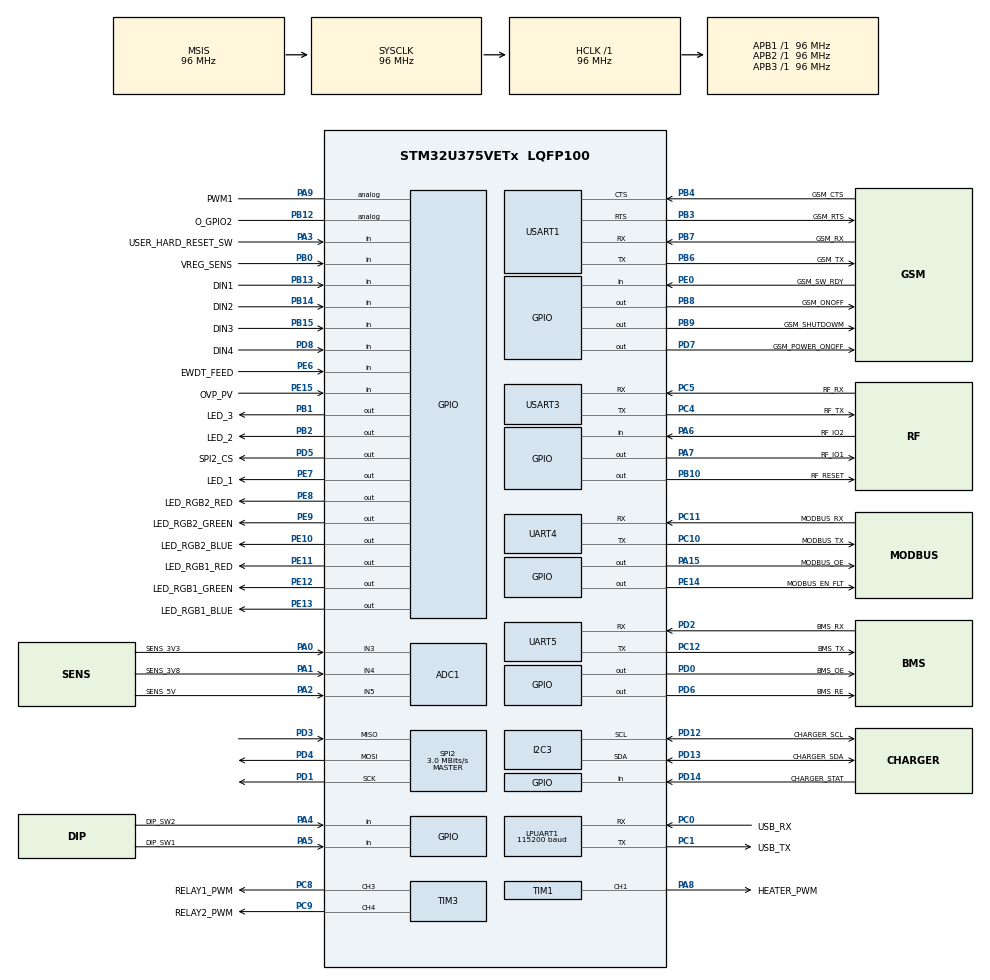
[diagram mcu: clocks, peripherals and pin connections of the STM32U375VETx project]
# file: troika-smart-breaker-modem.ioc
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ADC1.Channel-0\#ChannelRegularConversion=ADC_CHANNEL_3
ADC1.MonitoredBy-0\#ChannelRegularConversion=__NULL
ADC1.NbrOfConversionFlag=1
ADC1.OffsetNumber-0\#ChannelRegularConversion=ADC_OFFSET_NONE
ADC1.Rank-0\#ChannelRegularConversion=1
ADC1.SamplingTime-0\#ChannelRegularConversion=ADC_SAMPLETIME_1CYCLE_5
ADC1.master=1
CORTEX_M33_NS.userName=CORTEX_M33
I2C3.Timing=0x10B0DCFB
LPUART1.BaudRate=115200
Mcu.Family=STM32U3
Mcu.Name=STM32U375VETx
Mcu.Package=LQFP100
NVIC.PriorityGroup=NVIC_PRIORITYGROUP_4
PA0.GPIO_Label=SENS_3V3
PA0.Mode=IN3-Single-Ended
PA0.Signal=ADC1_IN3
PA1.GPIO_Label=SENS_3V8
PA1.Mode=IN4-Single-Ended
PA1.Signal=ADC1_IN4
PA13\ (JTMS/SWDIO).Mode=Serial_Wire
PA13\ (JTMS/SWDIO).Signal=DEBUG_JTMS-SWDIO
PA14\ (JTCK/SWCLK).Mode=Serial_Wire
PA14\ (JTCK/SWCLK).Signal=DEBUG_JTCK-SWCLK
PA15\ (JTDI).GPIO_Label=MODBUS_OE
PA15\ (JTDI).Signal=GPIO_Output
PA2.GPIO_Label=SENS_5V
PA2.Mode=IN5-Single-Ended
PA2.Signal=ADC1_IN5
PA3.GPIO_Label=USER_HARD_RESET_SW
PA3.Signal=GPIO_Input
PA4.GPIO_Label=DIP_SW2
PA4.Signal=GPIO_Input
PA5.GPIO_Label=DIP_SW1
PA5.Signal=GPIO_Input
PA6.GPIO_Label=RF_IO2
PA6.Signal=GPIO_Input
PA7.GPIO_Label=RF_IO1
PA7.Signal=GPIO_Output
PA8.GPIO_Label=HEATER_PWM
PA8.Signal=S_TIM1_CH1
PA9.GPIO_Label=PWM1
PA9.Signal=GPIO_Analog
PB0.GPIO_Label=VREG_SENS
PB0.Signal=GPIO_Input
PB1.GPIO_Label=LED_3
PB1.Signal=GPIO_Output
PB10.GPIO_Label=RF_RESET
PB10.GPIO_ModeDefaultOutputPP=GPIO_MODE_OUTPUT_OD
PB10.GPIO_PuPd=GPIO_NOPULL
PB10.Signal=GPIO_Output
PB12.GPIO_Label=O_GPIO2
PB12.Signal=GPIO_Analog
PB13.GPIO_Label=DIN1
PB13.Signal=GPIO_Input
PB14.GPIO_Label=DIN2
PB14.Signal=GPIO_Input
PB15.GPIO_Label=DIN3
PB15.Signal=GPIO_Input
PB2.GPIO_Label=LED_2
PB2.Signal=GPIO_Output
PB3\ (JTDO/TRACESWO).GPIO_Label=GSM_RTS
PB3\ (JTDO/TRACESWO).Mode=CTS_RTS
PB3\ (JTDO/TRACESWO).Signal=USART1_RTS
PB4\ (NJTRST).GPIO_Label=GSM_CTS
PB4\ (NJTRST).Mode=CTS_RTS
PB4\ (NJTRST).Signal=USART1_CTS
PB6.GPIO_Label=GSM_TX
PB6.Mode=Asynchronous
PB6.Signal=USART1_TX
PB7.GPIO_Label=GSM_RX
PB7.Mode=Asynchronous
PB7.Signal=USART1_RX
PB8.GPIO_Label=GSM_ONOFF
PB8.Signal=GPIO_Output
PB9.GPIO_Label=GSM_SHUTDOWM
PB9.Signal=GPIO_Output
PC0.GPIO_Label=USB_RX
PC0.Mode=Asynchronous
PC0.Signal=LPUART1_RX
PC1.GPIO_Label=USB_TX
PC1.Mode=Asynchronous
PC1.Signal=LPUART1_TX
PC10.GPIO_Label=MODBUS_TX
PC10.Mode=Asynchronous
PC10.Signal=UART4_TX
PC11.GPIO_Label=MODBUS_RX
PC11.Mode=Asynchronous
PC11.Signal=UART4_RX
PC12.GPIO_Label=BMS_TX
PC12.Mode=Asynchronous
PC12.Signal=UART5_TX
PC14-OSC32_IN\ (PC14).Mode=LSE-External-Oscillator-for-RTC
PC14-OSC32_IN\ (PC14).Signal=RCC_OSC32_IN
PC15-OSC32_OUT\ (PC15).Mode=LSE-External-Oscillator-for-RTC
PC15-OSC32_OUT\ (PC15).Signal=RCC_OSC32_OUT
PC4.GPIO_Label=RF_TX
PC4.Mode=Asynchronous
PC4.Signal=USART3_TX
PC5.GPIO_Label=RF_RX
PC5.Mode=Asynchronous
PC5.Signal=USART3_RX
PC8.GPIO_Label=RELAY1_PWM
PC8.Signal=S_TIM3_CH3
PC9.GPIO_Label=RELAY2_PWM
PC9.Signal=S_TIM3_CH4
PD0.GPIO_Label=BMS_OE
PD0.Signal=GPIO_Output
PD1.Mode=Full_Duplex_Master
PD1.Signal=SPI2_SCK
PD12.GPIO_Label=CHARGER_SCL
PD12.Mode=I2C
PD12.Signal=I2C3_SCL
PD13.GPIO_Label=CHARGER_SDA
PD13.Mode=I2C
PD13.Signal=I2C3_SDA
PD14.GPIO_Label=CHARGER_STAT
PD14.Signal=GPIO_Input
PD2.GPIO_Label=BMS_RX
PD2.Mode=Asynchronous
PD2.Signal=UART5_RX
PD3.Mode=Full_Duplex_Master
PD3.Signal=SPI2_MISO
PD4.Mode=Full_Duplex_Master
PD4.Signal=SPI2_MOSI
PD5.GPIO_Label=SPI2_CS
PD5.Signal=GPIO_Output
PD6.GPIO_Label=BMS_RE
PD6.Signal=GPIO_Output
PD7.GPIO_Label=GSM_POWER_ONOFF
PD7.Signal=GPIO_Output
PD8.GPIO_Label=DIN4
PD8.Signal=GPIO_Input
PE0.GPIO_Label=GSM_SW_RDY
PE0.Signal=GPIO_Input
PE10.GPIO_Label=LED_RGB2_BLUE
PE10.Signal=GPIO_Output
PE11.GPIO_Label=LED_RGB1_RED
PE11.Signal=GPIO_Output
PE12.GPIO_Label=LED_RGB1_GREEN
PE12.Signal=GPIO_Output
PE13.GPIO_Label=LED_RGB1_BLUE
PE13.Signal=GPIO_Output
PE14.GPIO_Label=MODBUS_EN_FLT
PE14.GPIO_ModeDefaultOutputPP=GPIO_MODE_OUTPUT_OD
PE14.GPIO_PuPd=GPIO_NOPULL
PE14.GPIO_Speed=GPIO_SPEED_FREQ_VERY_HIGH
PE14.Signal=GPIO_Output
PE15.GPIO_Label=OVP_PV
PE15.Signal=GPIO_Input
PE6.GPIO_Label=EWDT_FEED
PE6.Signal=GPIO_Input
PE7.GPIO_Label=LED_1
PE7.Signal=GPIO_Output
PE8.GPIO_Label=LED_RGB2_RED
PE8.Signal=GPIO_Output
PE9.GPIO_Label=LED_RGB2_GREEN
PE9.Signal=GPIO_Output
PH0-OSC_IN\ (PH0).Mode=HSE-External-Oscillator
PH0-OSC_IN\ (PH0).Signal=RCC_OSC_IN
PH1-OSC_OUT\ (PH1).Mode=HSE-External-Oscillator
PH1-OSC_OUT\ (PH1).Signal=RCC_OSC_OUT
ProjectManager.HeapSize=0x200
ProjectManager.StackSize=0x400
ProjectManager.TargetToolchain=STM32CubeIDE
RCC.ADCCLockSelection=RCC_ADCDACCLKSOURCE_HSE
RCC.ADCFreq_Value=24000000
RCC.AHBFreq_Value=96000000
RCC.APB1Freq_Value=96000000
RCC.APB1TimFreq_Value=96000000
RCC.APB2Freq_Value=96000000
RCC.APB2TimFreq_Value=96000000
RCC.APB3Freq_Value=96000000
RCC.CortexFreq_Value=12000000
RCC.HCLKFreq_Value=96000000
RCC.HSE_VALUE=24000000
RCC.HSI48_VALUE=48000000
RCC.HSI_VALUE=16000000
RCC.LSIDIV_VALUE=32000
RCC.MSISDIV=RCC_MSI_DIV1
RCC.RTCClockSelection=RCC_RTCCLKSOURCE_LSE
RCC.SYSCLKFreq_VALUE=96000000
RCC.USBFreq_Value=96000000
SH.S_TIM1_CH1.0=TIM1_CH1,PWM Generation1 CH1
SH.S_TIM3_CH3.0=TIM3_CH3,PWM Generation3 CH3
SH.S_TIM3_CH4.0=TIM3_CH4,PWM Generation4 CH4
SPI2.BaudRatePrescaler=SPI_BAUDRATEPRESCALER_32
SPI2.CalculateBaudRate=3.0 MBits/s
SPI2.DataSize=SPI_DATASIZE_8BIT
SPI2.Direction=SPI_DIRECTION_2LINES
SPI2.Mode=SPI_MODE_MASTER
SPI2.VirtualType=VM_MASTER
TIM1.Channel-PWM\ Generation1\ CH1=TIM_CHANNEL_1
TIM3.Channel-PWM\ Generation3\ CH3=TIM_CHANNEL_3
TIM3.Channel-PWM\ Generation4\ CH4=TIM_CHANNEL_4
USART1.VirtualMode-Asynchronous=VM_ASYNC
USART3.VirtualMode-Asynchronous=VM_ASYNC
VP_MEMORYMAP_VS_MEMORYMAP.Mode=CurAppReg
VP_PWR_VS_DBSignals.Mode=DisableDeadBatterySignals
VP_PWR_VS_LPOM.Mode=PowerOptimisation
VP_PWR_VS_SECSignals.Mode=Security/Privilege
VP_RTC_VS_RTC_Activate.Mode=RTC_Enabled
board=custom

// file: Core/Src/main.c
/* USER CODE BEGIN Header */
/**
  ******************************************************************************
  * @file           : main.c
  * @brief          : Main program body
  ******************************************************************************
  * @attention
  *
  * Copyright (c) 2025 STMicroelectronics.
  * All rights reserved.
  *
  * This software is licensed under terms that can be found in the LICENSE file
  * in the root directory of this software component.
  * If no LICENSE file comes with this software, it is provided AS-IS.
  *
  ******************************************************************************
  */
/* USER CODE END Header */
#include "main.h"

/* USER CODE BEGIN Includes */
#include "bsp.h"
#include "spi.h"
#include "xprintf.h"

#include "test_runner.h"
/* USER CODE END Includes */

ADC_HandleTypeDef hadc1;

I2C_HandleTypeDef hi2c3;

UART_HandleTypeDef hlpuart1;
UART_HandleTypeDef huart4;
UART_HandleTypeDef huart5;
UART_HandleTypeDef huart1;
UART_HandleTypeDef huart3;

RTC_HandleTypeDef hrtc;

SPI_HandleTypeDef hspi2;

TIM_HandleTypeDef htim1;
TIM_HandleTypeDef htim3;

void SystemClock_Config(void);
static void MX_GPIO_Init(void);
static void MX_LPUART1_UART_Init(void);
static void MX_UART4_Init(void);
static void MX_UART5_Init(void);
static void MX_USART1_UART_Init(void);
static void MX_USART3_UART_Init(void);
static void MX_TIM3_Init(void);
static void MX_I2C3_Init(void);
static void MX_SPI2_Init(void);
static void MX_TIM1_Init(void);
static void MX_ADC1_Init(void);
static void MX_RTC_Init(void);

int main(void)
{

  /* MCU Configuration--------------------------------------------------------*/

  /* Reset of all peripherals, Initializes the Flash interface and the Systick. */
  HAL_Init();

  /* Configure the system clock */
  SystemClock_Config();

  /* USER CODE BEGIN SysInit */
  /* Enable VREFBUF: clock + VDDA supply + 2.5V output to VREF+ pin */
  __HAL_RCC_VREF_CLK_ENABLE();
  HAL_SYSCFG_VREFBUF_VoltageScalingConfig(SYSCFG_VREFBUF_VOLTAGE_SCALE3);  /* 2.5V */
  HAL_SYSCFG_VREFBUF_HighImpedanceConfig(SYSCFG_VREFBUF_HIGH_IMPEDANCE_DISABLE);
  if (HAL_SYSCFG_EnableVREFBUF() != HAL_OK) {
    /* VREFBUF failed — will fall back to whatever is on VREF+ */
  }
  /* USER CODE END SysInit */

  /* Initialize all configured peripherals */
  MX_GPIO_Init();
  MX_LPUART1_UART_Init();
  MX_UART4_Init();
  MX_UART5_Init();
  MX_USART1_UART_Init();
  MX_USART3_UART_Init();
  MX_TIM3_Init();
  MX_I2C3_Init();
  MX_SPI2_Init();
  MX_TIM1_Init();
  MX_ADC1_Init();
  MX_RTC_Init();
  /* USER CODE BEGIN 2 */
  HAL_ADCEx_Calibration_Start(&hadc1, ADC_SINGLE_ENDED);
  spi_init();
  test_console_init();
  test_run_menu();
  /* USER CODE END 2 */

  /* Infinite loop */
  while (1)
  {

  }
}

void SystemClock_Config(void)
{
  RCC_OscInitTypeDef RCC_OscInitStruct = {0};
  RCC_ClkInitTypeDef RCC_ClkInitStruct = {0};

  /** Enable Epod Booster
  */
  if (HAL_RCCEx_EpodBoosterClkConfig(RCC_EPODBOOSTER_SOURCE_MSIS, RCC_EPODBOOSTER_DIV1) != HAL_OK)
  {
    Error_Handler();
  }
  if (HAL_PWREx_EnableEpodBooster() != HAL_OK)
  {
    Error_Handler();
  }

  /** Configure the main internal regulator output voltage
  */
  if (HAL_PWREx_ControlVoltageScaling(PWR_REGULATOR_VOLTAGE_SCALE1) != HAL_OK)
  {
    Error_Handler();
  }

  /** Set Flash latency before increasing MSIS
  */
  __HAL_FLASH_SET_LATENCY(FLASH_LATENCY_2);

  /** Configure LSE Drive Capability
  */
  HAL_PWR_EnableBkUpAccess();
  __HAL_RCC_LSEDRIVE_CONFIG(RCC_LSEDRIVE_LOW);

  /** Initializes the CPU, AHB and APB buses clocks
  */
  RCC_OscInitStruct.OscillatorType = RCC_OSCILLATORTYPE_HSE|RCC_OSCILLATORTYPE_LSE
                              |RCC_OSCILLATORTYPE_MSIS;
  RCC_OscInitStruct.HSEState = RCC_HSE_ON;
  RCC_OscInitStruct.LSEState = RCC_LSE_ON_RTC_ONLY;
  RCC_OscInitStruct.MSISState = RCC_MSI_ON;
  RCC_OscInitStruct.MSISSource = RCC_MSI_RC0;
  RCC_OscInitStruct.MSISDiv = RCC_MSI_DIV1;
  if (HAL_RCC_OscConfig(&RCC_OscInitStruct) != HAL_OK)
  {
    Error_Handler();
  }

  /** Initializes the CPU, AHB and APB buses clocks
  */
  RCC_ClkInitStruct.ClockType = RCC_CLOCKTYPE_HCLK|RCC_CLOCKTYPE_SYSCLK
                              |RCC_CLOCKTYPE_PCLK1|RCC_CLOCKTYPE_PCLK2
                              |RCC_CLOCKTYPE_PCLK3;
  RCC_ClkInitStruct.SYSCLKSource = RCC_SYSCLKSOURCE_MSIS;
  RCC_ClkInitStruct.AHBCLKDivider = RCC_SYSCLK_DIV1;
  RCC_ClkInitStruct.APB1CLKDivider = RCC_HCLK_DIV1;
  RCC_ClkInitStruct.APB2CLKDivider = RCC_HCLK_DIV1;
  RCC_ClkInitStruct.APB3CLKDivider = RCC_HCLK_DIV1;

  if (HAL_RCC_ClockConfig(&RCC_ClkInitStruct, FLASH_LATENCY_2) != HAL_OK)
  {
    Error_Handler();
  }
}

static void MX_ADC1_Init(void)
{

  ADC_ChannelConfTypeDef sConfig = {0};

  /** Common config
  */
  hadc1.Instance = ADC1;
  hadc1.Init.Resolution = ADC_RESOLUTION_12B;
  hadc1.Init.GainCompensation = 0;
  hadc1.Init.ScanConvMode = ADC_SCAN_DISABLE;
  hadc1.Init.EOCSelection = ADC_EOC_SINGLE_CONV;
  hadc1.Init.LowPowerAutoWait = DISABLE;
  hadc1.Init.ContinuousConvMode = DISABLE;
  hadc1.Init.NbrOfConversion = 1;
  hadc1.Init.DiscontinuousConvMode = DISABLE;
  hadc1.Init.ExternalTrigConv = ADC_SOFTWARE_START;
  hadc1.Init.ExternalTrigConvEdge = ADC_EXTERNALTRIGCONVEDGE_NONE;
  hadc1.Init.Overrun = ADC_OVR_DATA_PRESERVED;
  hadc1.Init.LeftBitShift = ADC_LEFTBITSHIFT_NONE;
  hadc1.Init.ConversionDataManagement = ADC_CONVERSIONDATA_DR;
  hadc1.Init.OversamplingMode = DISABLE;
  if (HAL_ADC_Init(&hadc1) != HAL_OK)
  {
    Error_Handler();
  }

  /** Configure Regular Channel
  */
  sConfig.Channel = ADC_CHANNEL_3;
  sConfig.Rank = ADC_REGULAR_RANK_1;
  sConfig.SamplingTime = ADC_SAMPLETIME_1CYCLE_5;
  sConfig.OffsetNumber = ADC_OFFSET_NONE;
  sConfig.Offset = 0;
  if (HAL_ADC_ConfigChannel(&hadc1, &sConfig) != HAL_OK)
  {
    Error_Handler();
  }

}

static void MX_I2C3_Init(void)
{

  hi2c3.Instance = I2C3;
  hi2c3.Init.Timing = 0x10B0DCFB;
  hi2c3.Init.OwnAddress1 = 0;
  hi2c3.Init.AddressingMode = I2C_ADDRESSINGMODE_7BIT;
  hi2c3.Init.DualAddressMode = I2C_DUALADDRESS_DISABLE;
  hi2c3.Init.OwnAddress2 = 0;
  hi2c3.Init.OwnAddress2Masks = I2C_OA2_NOMASK;
  hi2c3.Init.GeneralCallMode = I2C_GENERALCALL_DISABLE;
  hi2c3.Init.NoStretchMode = I2C_NOSTRETCH_DISABLE;
  if (HAL_I2C_Init(&hi2c3) != HAL_OK)
  {
    Error_Handler();
  }

  /** Configure Analogue filter
  */
  if (HAL_I2CEx_ConfigAnalogFilter(&hi2c3, I2C_ANALOGFILTER_ENABLE) != HAL_OK)
  {
    Error_Handler();
  }

  /** Configure Digital filter
  */
  if (HAL_I2CEx_ConfigDigitalFilter(&hi2c3, 0) != HAL_OK)
  {
    Error_Handler();
  }

}

static void MX_LPUART1_UART_Init(void)
{

  hlpuart1.Instance = LPUART1;
  hlpuart1.Init.BaudRate = 115200;
  hlpuart1.Init.WordLength = UART_WORDLENGTH_8B;
  hlpuart1.Init.StopBits = UART_STOPBITS_1;
  hlpuart1.Init.Parity = UART_PARITY_NONE;
  hlpuart1.Init.Mode = UART_MODE_TX_RX;
  hlpuart1.Init.HwFlowCtl = UART_HWCONTROL_NONE;
  hlpuart1.Init.OneBitSampling = UART_ONE_BIT_SAMPLE_DISABLE;
  hlpuart1.Init.ClockPrescaler = UART_PRESCALER_DIV1;
  hlpuart1.AdvancedInit.AdvFeatureInit = UART_ADVFEATURE_NO_INIT;
  hlpuart1.FifoMode = UART_FIFOMODE_DISABLE;
  if (HAL_UART_Init(&hlpuart1) != HAL_OK)
  {
    Error_Handler();
  }
  if (HAL_UARTEx_SetTxFifoThreshold(&hlpuart1, UART_TXFIFO_THRESHOLD_1_8) != HAL_OK)
  {
    Error_Handler();
  }
  if (HAL_UARTEx_SetRxFifoThreshold(&hlpuart1, UART_RXFIFO_THRESHOLD_1_8) != HAL_OK)
  {
    Error_Handler();
  }
  if (HAL_UARTEx_DisableFifoMode(&hlpuart1) != HAL_OK)
  {
    Error_Handler();
  }

}

static void MX_UART4_Init(void)
{

  huart4.Instance = UART4;
  huart4.Init.BaudRate = 115200;
  huart4.Init.WordLength = UART_WORDLENGTH_8B;
  huart4.Init.StopBits = UART_STOPBITS_1;
  huart4.Init.Parity = UART_PARITY_NONE;
  huart4.Init.Mode = UART_MODE_TX_RX;
  huart4.Init.HwFlowCtl = UART_HWCONTROL_NONE;
  huart4.Init.OverSampling = UART_OVERSAMPLING_16;
  huart4.Init.OneBitSampling = UART_ONE_BIT_SAMPLE_DISABLE;
  huart4.Init.ClockPrescaler = UART_PRESCALER_DIV1;
  huart4.AdvancedInit.AdvFeatureInit = UART_ADVFEATURE_NO_INIT;
  if (HAL_UART_Init(&huart4) != HAL_OK)
  {
    Error_Handler();
  }
  if (HAL_UARTEx_SetTxFifoThreshold(&huart4, UART_TXFIFO_THRESHOLD_1_8) != HAL_OK)
  {
    Error_Handler();
  }
  if (HAL_UARTEx_SetRxFifoThreshold(&huart4, UART_RXFIFO_THRESHOLD_1_8) != HAL_OK)
  {
    Error_Handler();
  }
  if (HAL_UARTEx_DisableFifoMode(&huart4) != HAL_OK)
  {
    Error_Handler();
  }

}

static void MX_UART5_Init(void)
{

  huart5.Instance = UART5;
  huart5.Init.BaudRate = 115200;
  huart5.Init.WordLength = UART_WORDLENGTH_8B;
  huart5.Init.StopBits = UART_STOPBITS_1;
  huart5.Init.Parity = UART_PARITY_NONE;
  huart5.Init.Mode = UART_MODE_TX_RX;
  huart5.Init.HwFlowCtl = UART_HWCONTROL_NONE;
  huart5.Init.OverSampling = UART_OVERSAMPLING_16;
  huart5.Init.OneBitSampling = UART_ONE_BIT_SAMPLE_DISABLE;
  huart5.Init.ClockPrescaler = UART_PRESCALER_DIV1;
  huart5.AdvancedInit.AdvFeatureInit = UART_ADVFEATURE_NO_INIT;
  if (HAL_UART_Init(&huart5) != HAL_OK)
  {
    Error_Handler();
  }
  if (HAL_UARTEx_SetTxFifoThreshold(&huart5, UART_TXFIFO_THRESHOLD_1_8) != HAL_OK)
  {
    Error_Handler();
  }
  if (HAL_UARTEx_SetRxFifoThreshold(&huart5, UART_RXFIFO_THRESHOLD_1_8) != HAL_OK)
  {
    Error_Handler();
  }
  if (HAL_UARTEx_DisableFifoMode(&huart5) != HAL_OK)
  {
    Error_Handler();
  }

}

static void MX_USART1_UART_Init(void)
{

  huart1.Instance = USART1;
  huart1.Init.BaudRate = 115200;
  huart1.Init.WordLength = UART_WORDLENGTH_8B;
  huart1.Init.StopBits = UART_STOPBITS_1;
  huart1.Init.Parity = UART_PARITY_NONE;
  huart1.Init.Mode = UART_MODE_TX_RX;
  huart1.Init.HwFlowCtl = UART_HWCONTROL_RTS_CTS;
  huart1.Init.OverSampling = UART_OVERSAMPLING_16;
  huart1.Init.OneBitSampling = UART_ONE_BIT_SAMPLE_DISABLE;
  huart1.Init.ClockPrescaler = UART_PRESCALER_DIV1;
  huart1.AdvancedInit.AdvFeatureInit = UART_ADVFEATURE_NO_INIT;
  if (HAL_UART_Init(&huart1) != HAL_OK)
  {
    Error_Handler();
  }
  if (HAL_UARTEx_SetTxFifoThreshold(&huart1, UART_TXFIFO_THRESHOLD_1_8) != HAL_OK)
  {
    Error_Handler();
  }
  if (HAL_UARTEx_SetRxFifoThreshold(&huart1, UART_RXFIFO_THRESHOLD_1_8) != HAL_OK)
  {
    Error_Handler();
  }
  if (HAL_UARTEx_DisableFifoMode(&huart1) != HAL_OK)
  {
    Error_Handler();
  }

}

static void MX_USART3_UART_Init(void)
{

  huart3.Instance = USART3;
  huart3.Init.BaudRate = 115200;
  huart3.Init.WordLength = UART_WORDLENGTH_8B;
  huart3.Init.StopBits = UART_STOPBITS_1;
  huart3.Init.Parity = UART_PARITY_NONE;
  huart3.Init.Mode = UART_MODE_TX_RX;
  huart3.Init.HwFlowCtl = UART_HWCONTROL_NONE;
  huart3.Init.OverSampling = UART_OVERSAMPLING_16;
  huart3.Init.OneBitSampling = UART_ONE_BIT_SAMPLE_DISABLE;
  huart3.Init.ClockPrescaler = UART_PRESCALER_DIV1;
  huart3.AdvancedInit.AdvFeatureInit = UART_ADVFEATURE_NO_INIT;
  if (HAL_UART_Init(&huart3) != HAL_OK)
  {
    Error_Handler();
  }
  if (HAL_UARTEx_SetTxFifoThreshold(&huart3, UART_TXFIFO_THRESHOLD_1_8) != HAL_OK)
  {
    Error_Handler();
  }
  if (HAL_UARTEx_SetRxFifoThreshold(&huart3, UART_RXFIFO_THRESHOLD_1_8) != HAL_OK)
  {
    Error_Handler();
  }
  if (HAL_UARTEx_DisableFifoMode(&huart3) != HAL_OK)
  {
    Error_Handler();
  }

}

static void MX_RTC_Init(void)
{

  /* USER CODE BEGIN RTC_Init 0 */
  /* Check if RTC is already initialized (backup register preserved across reset) */
  #define RTC_INIT_MAGIC 0x32F1
  /* USER CODE END RTC_Init 0 */

  RTC_PrivilegeStateTypeDef privilegeState = {0};

  /* USER CODE BEGIN RTC_Init 1 */
  /* If RTC was previously configured, just set the handle and skip full init */
  hrtc.Instance = RTC;
  HAL_PWR_EnableBkUpAccess();
  /* APB clock to RTC is not in backup domain — must re-enable after every reset */
  __HAL_RCC_RTCAPB_CLK_ENABLE();
  /* If RTC clock source changed (e.g. LSI→LSE), force backup domain reset */
  if (__HAL_RCC_GET_RTC_SOURCE() != RCC_RTCCLKSOURCE_LSE)
  {
    __HAL_RCC_BACKUPRESET_FORCE();
    __HAL_RCC_BACKUPRESET_RELEASE();
    /* Fall through to full init — old time/magic is lost */
  }
  else if (HAL_RTCEx_BKUPRead(&hrtc, RTC_BKP_DR1) == RTC_INIT_MAGIC)
  {
    hrtc.Init.HourFormat = RTC_HOURFORMAT_24;
    hrtc.Init.AsynchPrediv = 127;
    hrtc.Init.SynchPrediv = 255;
    hrtc.Init.BinMode = RTC_BINARY_NONE;
    __HAL_RTC_RESET_HANDLE_STATE(&hrtc);
    return;
  }
  /* USER CODE END RTC_Init 1 */

  /** Initialize RTC Only
  */
  hrtc.Instance = RTC;
  hrtc.Init.HourFormat = RTC_HOURFORMAT_24;
  hrtc.Init.AsynchPrediv = 127;
  hrtc.Init.SynchPrediv = 255;
  hrtc.Init.OutPut = RTC_OUTPUT_DISABLE;
  hrtc.Init.OutPutRemap = RTC_OUTPUT_REMAP_NONE;
  hrtc.Init.OutPutPolarity = RTC_OUTPUT_POLARITY_HIGH;
  hrtc.Init.OutPutType = RTC_OUTPUT_TYPE_OPENDRAIN;
  hrtc.Init.OutPutPullUp = RTC_OUTPUT_PULLUP_NONE;
  hrtc.Init.BinMode = RTC_BINARY_NONE;
  if (HAL_RTC_Init(&hrtc) != HAL_OK)
  {
    Error_Handler();
  }
  privilegeState.rtcPrivilegeFull = RTC_PRIVILEGE_FULL_NO;
  privilegeState.backupRegisterPrivZone = RTC_PRIVILEGE_BKUP_ZONE_NONE;
  privilegeState.backupRegisterStartZone2 = RTC_BKP_DR0;
  privilegeState.backupRegisterStartZone3 = RTC_BKP_DR0;
  if (HAL_RTCEx_PrivilegeModeSet(&hrtc, &privilegeState) != HAL_OK)
  {
    Error_Handler();
  }
  /* USER CODE BEGIN RTC_Init 2 */
  /* Mark RTC as initialized so we don't reinit on next reset */
  HAL_RTCEx_BKUPWrite(&hrtc, RTC_BKP_DR1, RTC_INIT_MAGIC);
  /* USER CODE END RTC_Init 2 */

}

static void MX_SPI2_Init(void)
{

  SPI_AutonomousModeConfTypeDef HAL_SPI_AutonomousMode_Cfg_Struct = {0};

  /* SPI2 parameter configuration*/
  hspi2.Instance = SPI2;
  hspi2.Init.Mode = SPI_MODE_MASTER;
  hspi2.Init.Direction = SPI_DIRECTION_2LINES;
  hspi2.Init.DataSize = SPI_DATASIZE_8BIT;
  hspi2.Init.CLKPolarity = SPI_POLARITY_LOW;
  hspi2.Init.CLKPhase = SPI_PHASE_1EDGE;
  hspi2.Init.NSS = SPI_NSS_SOFT;
  hspi2.Init.BaudRatePrescaler = SPI_BAUDRATEPRESCALER_32;
  hspi2.Init.FirstBit = SPI_FIRSTBIT_MSB;
  hspi2.Init.TIMode = SPI_TIMODE_DISABLE;
  hspi2.Init.CRCCalculation = SPI_CRCCALCULATION_DISABLE;
  hspi2.Init.CRCPolynomial = 0x7;
  hspi2.Init.NSSPMode = SPI_NSS_PULSE_ENABLE;
  hspi2.Init.NSSPolarity = SPI_NSS_POLARITY_LOW;
  hspi2.Init.FifoThreshold = SPI_FIFO_THRESHOLD_01DATA;
  hspi2.Init.MasterSSIdleness = SPI_MASTER_SS_IDLENESS_00CYCLE;
  hspi2.Init.MasterInterDataIdleness = SPI_MASTER_INTERDATA_IDLENESS_00CYCLE;
  hspi2.Init.MasterReceiverAutoSusp = SPI_MASTER_RX_AUTOSUSP_DISABLE;
  hspi2.Init.MasterKeepIOState = SPI_MASTER_KEEP_IO_STATE_DISABLE;
  hspi2.Init.IOSwap = SPI_IO_SWAP_DISABLE;
  hspi2.Init.ReadyMasterManagement = SPI_RDY_MASTER_MANAGEMENT_INTERNALLY;
  hspi2.Init.ReadyPolarity = SPI_RDY_POLARITY_HIGH;
  if (HAL_SPI_Init(&hspi2) != HAL_OK)
  {
    Error_Handler();
  }
  HAL_SPI_AutonomousMode_Cfg_Struct.TriggerState = SPI_AUTO_MODE_DISABLE;
  HAL_SPI_AutonomousMode_Cfg_Struct.TriggerSelection = SPI_GRP1_GPDMA_CH0_TCF_TRG;
  HAL_SPI_AutonomousMode_Cfg_Struct.TriggerPolarity = SPI_TRIG_POLARITY_RISING;
  if (HAL_SPIEx_SetConfigAutonomousMode(&hspi2, &HAL_SPI_AutonomousMode_Cfg_Struct) != HAL_OK)
  {
    Error_Handler();
  }

}

static void MX_TIM1_Init(void)
{

  TIM_MasterConfigTypeDef sMasterConfig = {0};
  TIM_OC_InitTypeDef sConfigOC = {0};
  TIM_BreakDeadTimeConfigTypeDef sBreakDeadTimeConfig = {0};

  htim1.Instance = TIM1;
  htim1.Init.Prescaler = 0;
  htim1.Init.CounterMode = TIM_COUNTERMODE_UP;
  htim1.Init.Period = 65535;
  htim1.Init.ClockDivision = TIM_CLOCKDIVISION_DIV1;
  htim1.Init.RepetitionCounter = 0;
  htim1.Init.AutoReloadPreload = TIM_AUTORELOAD_PRELOAD_DISABLE;
  if (HAL_TIM_PWM_Init(&htim1) != HAL_OK)
  {
    Error_Handler();
  }
  sMasterConfig.MasterOutputTrigger = TIM_TRGO_RESET;
  sMasterConfig.MasterOutputTrigger2 = TIM_TRGO2_RESET;
  sMasterConfig.MasterSlaveMode = TIM_MASTERSLAVEMODE_DISABLE;
  if (HAL_TIMEx_MasterConfigSynchronization(&htim1, &sMasterConfig) != HAL_OK)
  {
    Error_Handler();
  }
  sConfigOC.OCMode = TIM_OCMODE_PWM1;
  sConfigOC.Pulse = 0;
  sConfigOC.OCPolarity = TIM_OCPOLARITY_HIGH;
  sConfigOC.OCNPolarity = TIM_OCNPOLARITY_HIGH;
  sConfigOC.OCFastMode = TIM_OCFAST_DISABLE;
  sConfigOC.OCIdleState = TIM_OCIDLESTATE_RESET;
  sConfigOC.OCNIdleState = TIM_OCNIDLESTATE_RESET;
  if (HAL_TIM_PWM_ConfigChannel(&htim1, &sConfigOC, TIM_CHANNEL_1) != HAL_OK)
  {
    Error_Handler();
  }
  sBreakDeadTimeConfig.OffStateRunMode = TIM_OSSR_DISABLE;
  sBreakDeadTimeConfig.OffStateIDLEMode = TIM_OSSI_DISABLE;
  sBreakDeadTimeConfig.LockLevel = TIM_LOCKLEVEL_OFF;
  sBreakDeadTimeConfig.DeadTime = 0;
  sBreakDeadTimeConfig.BreakState = TIM_BREAK_DISABLE;
  sBreakDeadTimeConfig.BreakPolarity = TIM_BREAKPOLARITY_HIGH;
  sBreakDeadTimeConfig.BreakFilter = 0;
  sBreakDeadTimeConfig.BreakAFMode = TIM_BREAK_AFMODE_INPUT;
  sBreakDeadTimeConfig.Break2State = TIM_BREAK2_DISABLE;
  sBreakDeadTimeConfig.Break2Polarity = TIM_BREAK2POLARITY_HIGH;
  sBreakDeadTimeConfig.Break2Filter = 0;
  sBreakDeadTimeConfig.Break2AFMode = TIM_BREAK_AFMODE_INPUT;
  sBreakDeadTimeConfig.AutomaticOutput = TIM_AUTOMATICOUTPUT_DISABLE;
  if (HAL_TIMEx_ConfigBreakDeadTime(&htim1, &sBreakDeadTimeConfig) != HAL_OK)
  {
    Error_Handler();
  }
  HAL_TIM_MspPostInit(&htim1);

}

static void MX_TIM3_Init(void)
{

  TIM_MasterConfigTypeDef sMasterConfig = {0};
  TIM_OC_InitTypeDef sConfigOC = {0};

  htim3.Instance = TIM3;
  htim3.Init.Prescaler = 0;
  htim3.Init.CounterMode = TIM_COUNTERMODE_UP;
  htim3.Init.Period = 4294967295;
  htim3.Init.ClockDivision = TIM_CLOCKDIVISION_DIV1;
  htim3.Init.AutoReloadPreload = TIM_AUTORELOAD_PRELOAD_DISABLE;
  if (HAL_TIM_PWM_Init(&htim3) != HAL_OK)
  {
    Error_Handler();
  }
  sMasterConfig.MasterOutputTrigger = TIM_TRGO_RESET;
  sMasterConfig.MasterSlaveMode = TIM_MASTERSLAVEMODE_DISABLE;
  if (HAL_TIMEx_MasterConfigSynchronization(&htim3, &sMasterConfig) != HAL_OK)
  {
    Error_Handler();
  }
  sConfigOC.OCMode = TIM_OCMODE_PWM1;
  sConfigOC.Pulse = 0;
  sConfigOC.OCPolarity = TIM_OCPOLARITY_HIGH;
  sConfigOC.OCFastMode = TIM_OCFAST_DISABLE;
  if (HAL_TIM_PWM_ConfigChannel(&htim3, &sConfigOC, TIM_CHANNEL_3) != HAL_OK)
  {
    Error_Handler();
  }
  if (HAL_TIM_PWM_ConfigChannel(&htim3, &sConfigOC, TIM_CHANNEL_4) != HAL_OK)
  {
    Error_Handler();
  }
  HAL_TIM_MspPostInit(&htim3);

}

static void MX_GPIO_Init(void)
{
  GPIO_InitTypeDef GPIO_InitStruct = {0};

  /* GPIO Ports Clock Enable */
  __HAL_RCC_GPIOE_CLK_ENABLE();
  __HAL_RCC_GPIOC_CLK_ENABLE();
  __HAL_RCC_GPIOH_CLK_ENABLE();
  __HAL_RCC_GPIOA_CLK_ENABLE();
  __HAL_RCC_GPIOB_CLK_ENABLE();
  __HAL_RCC_GPIOD_CLK_ENABLE();

  /*Configure GPIO pin Output Level */
  HAL_GPIO_WritePin(GPIOA, RF_IO1_Pin|MODBUS_OE_Pin, GPIO_PIN_RESET);

  /*Configure GPIO pin Output Level */
  HAL_GPIO_WritePin(GPIOB, LED_3_Pin|LED_2_Pin|RF_RESET_Pin|GSM_ONOFF_Pin
                          |GSM_SHUTDOWM_Pin, GPIO_PIN_RESET);

  /*Configure GPIO pin Output Level */
  HAL_GPIO_WritePin(GPIOE, LED_1_Pin|LED_RGB2_RED_Pin|LED_RGB2_GREEN_Pin|LED_RGB2_BLUE_Pin
                          |LED_RGB1_RED_Pin|LED_RGB1_GREEN_Pin|LED_RGB1_BLUE_Pin|MODBUS_EN_FLT_Pin, GPIO_PIN_RESET);

  /*Configure GPIO pin Output Level */
  HAL_GPIO_WritePin(GPIOD, BMS_OE_Pin|SPI2_CS_Pin|BMS_RE_Pin|GSM_POWER_ONOFF_Pin, GPIO_PIN_RESET);

  /*Configure GPIO pins : PE2 PE3 PE4 PE5
                           PE1 */
  GPIO_InitStruct.Pin = GPIO_PIN_2|GPIO_PIN_3|GPIO_PIN_4|GPIO_PIN_5
                          |GPIO_PIN_1;
  GPIO_InitStruct.Mode = GPIO_MODE_ANALOG;
  GPIO_InitStruct.Pull = GPIO_NOPULL;
  HAL_GPIO_Init(GPIOE, &GPIO_InitStruct);

  /*Configure GPIO pins : EWDT_FEED_Pin OVP_PV_Pin GSM_SW_RDY_Pin */
  GPIO_InitStruct.Pin = EWDT_FEED_Pin|OVP_PV_Pin|GSM_SW_RDY_Pin;
  GPIO_InitStruct.Mode = GPIO_MODE_INPUT;
  GPIO_InitStruct.Pull = GPIO_NOPULL;
  HAL_GPIO_Init(GPIOE, &GPIO_InitStruct);

  /*Configure GPIO pins : PC13 PC2 PC3 PC6
                           PC7 */
  GPIO_InitStruct.Pin = GPIO_PIN_13|GPIO_PIN_2|GPIO_PIN_3|GPIO_PIN_6
                          |GPIO_PIN_7;
  GPIO_InitStruct.Mode = GPIO_MODE_ANALOG;
  GPIO_InitStruct.Pull = GPIO_NOPULL;
  HAL_GPIO_Init(GPIOC, &GPIO_InitStruct);

  /*Configure GPIO pins : USER_HARD_RESET_SW_Pin DIP_SW2_Pin DIP_SW1_Pin RF_IO2_Pin */
  GPIO_InitStruct.Pin = USER_HARD_RESET_SW_Pin|DIP_SW2_Pin|DIP_SW1_Pin|RF_IO2_Pin;
  GPIO_InitStruct.Mode = GPIO_MODE_INPUT;
  GPIO_InitStruct.Pull = GPIO_NOPULL;
  HAL_GPIO_Init(GPIOA, &GPIO_InitStruct);

  /*Configure GPIO pins : RF_IO1_Pin MODBUS_OE_Pin */
  GPIO_InitStruct.Pin = RF_IO1_Pin|MODBUS_OE_Pin;
  GPIO_InitStruct.Mode = GPIO_MODE_OUTPUT_PP;
  GPIO_InitStruct.Pull = GPIO_NOPULL;
  GPIO_InitStruct.Speed = GPIO_SPEED_FREQ_LOW;
  HAL_GPIO_Init(GPIOA, &GPIO_InitStruct);

  /*Configure GPIO pins : VREG_SENS_Pin DIN1_Pin DIN2_Pin DIN3_Pin */
  GPIO_InitStruct.Pin = VREG_SENS_Pin|DIN1_Pin|DIN2_Pin|DIN3_Pin;
  GPIO_InitStruct.Mode = GPIO_MODE_INPUT;
  GPIO_InitStruct.Pull = GPIO_NOPULL;
  HAL_GPIO_Init(GPIOB, &GPIO_InitStruct);

  /*Configure GPIO pins : LED_3_Pin LED_2_Pin GSM_ONOFF_Pin GSM_SHUTDOWM_Pin */
  GPIO_InitStruct.Pin = LED_3_Pin|LED_2_Pin|GSM_ONOFF_Pin|GSM_SHUTDOWM_Pin;
  GPIO_InitStruct.Mode = GPIO_MODE_OUTPUT_PP;
  GPIO_InitStruct.Pull = GPIO_NOPULL;
  GPIO_InitStruct.Speed = GPIO_SPEED_FREQ_LOW;
  HAL_GPIO_Init(GPIOB, &GPIO_InitStruct);

  /*Configure GPIO pins : LED_1_Pin LED_RGB2_RED_Pin LED_RGB2_GREEN_Pin LED_RGB2_BLUE_Pin
                           LED_RGB1_RED_Pin LED_RGB1_GREEN_Pin LED_RGB1_BLUE_Pin */
  GPIO_InitStruct.Pin = LED_1_Pin|LED_RGB2_RED_Pin|LED_RGB2_GREEN_Pin|LED_RGB2_BLUE_Pin
                          |LED_RGB1_RED_Pin|LED_RGB1_GREEN_Pin|LED_RGB1_BLUE_Pin;
  GPIO_InitStruct.Mode = GPIO_MODE_OUTPUT_PP;
  GPIO_InitStruct.Pull = GPIO_NOPULL;
  GPIO_InitStruct.Speed = GPIO_SPEED_FREQ_LOW;
  HAL_GPIO_Init(GPIOE, &GPIO_InitStruct);

  /*Configure GPIO pin : MODBUS_EN_FLT_Pin */
  GPIO_InitStruct.Pin = MODBUS_EN_FLT_Pin;
  GPIO_InitStruct.Mode = GPIO_MODE_OUTPUT_OD;
  GPIO_InitStruct.Pull = GPIO_NOPULL;
  GPIO_InitStruct.Speed = GPIO_SPEED_FREQ_VERY_HIGH;
  HAL_GPIO_Init(MODBUS_EN_FLT_GPIO_Port, &GPIO_InitStruct);

  /*Configure GPIO pin : RF_RESET_Pin */
  GPIO_InitStruct.Pin = RF_RESET_Pin;
  GPIO_InitStruct.Mode = GPIO_MODE_OUTPUT_OD;
  GPIO_InitStruct.Pull = GPIO_NOPULL;
  GPIO_InitStruct.Speed = GPIO_SPEED_FREQ_LOW;
  HAL_GPIO_Init(RF_RESET_GPIO_Port, &GPIO_InitStruct);

  /*Configure GPIO pins : O_GPIO2_Pin PB5 */
  GPIO_InitStruct.Pin = O_GPIO2_Pin|GPIO_PIN_5;
  GPIO_InitStruct.Mode = GPIO_MODE_ANALOG;
  GPIO_InitStruct.Pull = GPIO_NOPULL;
  HAL_GPIO_Init(GPIOB, &GPIO_InitStruct);

  /*Configure GPIO pins : DIN4_Pin CHARGER_STAT_Pin */
  GPIO_InitStruct.Pin = DIN4_Pin|CHARGER_STAT_Pin;
  GPIO_InitStruct.Mode = GPIO_MODE_INPUT;
  GPIO_InitStruct.Pull = GPIO_NOPULL;
  HAL_GPIO_Init(GPIOD, &GPIO_InitStruct);

  /*Configure GPIO pins : PD9 PD10 PD11 PD15 */
  GPIO_InitStruct.Pin = GPIO_PIN_9|GPIO_PIN_10|GPIO_PIN_11|GPIO_PIN_15;
  GPIO_InitStruct.Mode = GPIO_MODE_ANALOG;
  GPIO_InitStruct.Pull = GPIO_NOPULL;
  HAL_GPIO_Init(GPIOD, &GPIO_InitStruct);

  /*Configure GPIO pins : PWM1_Pin PA10 PA11 PA12 */
  GPIO_InitStruct.Pin = PWM1_Pin|GPIO_PIN_10|GPIO_PIN_11|GPIO_PIN_12;
  GPIO_InitStruct.Mode = GPIO_MODE_ANALOG;
  GPIO_InitStruct.Pull = GPIO_NOPULL;
  HAL_GPIO_Init(GPIOA, &GPIO_InitStruct);

  /*Configure GPIO pins : BMS_OE_Pin SPI2_CS_Pin BMS_RE_Pin GSM_POWER_ONOFF_Pin */
  GPIO_InitStruct.Pin = BMS_OE_Pin|SPI2_CS_Pin|BMS_RE_Pin|GSM_POWER_ONOFF_Pin;
  GPIO_InitStruct.Mode = GPIO_MODE_OUTPUT_PP;
  GPIO_InitStruct.Pull = GPIO_NOPULL;
  GPIO_InitStruct.Speed = GPIO_SPEED_FREQ_LOW;
  HAL_GPIO_Init(GPIOD, &GPIO_InitStruct);

  /*Configure GPIO pin : PH3 */
  GPIO_InitStruct.Pin = GPIO_PIN_3;
  GPIO_InitStruct.Mode = GPIO_MODE_ANALOG;
  GPIO_InitStruct.Pull = GPIO_NOPULL;
  HAL_GPIO_Init(GPIOH, &GPIO_InitStruct);

}

void Error_Handler(void)
{
  __disable_irq();
  while (1)
  {
  }
}
